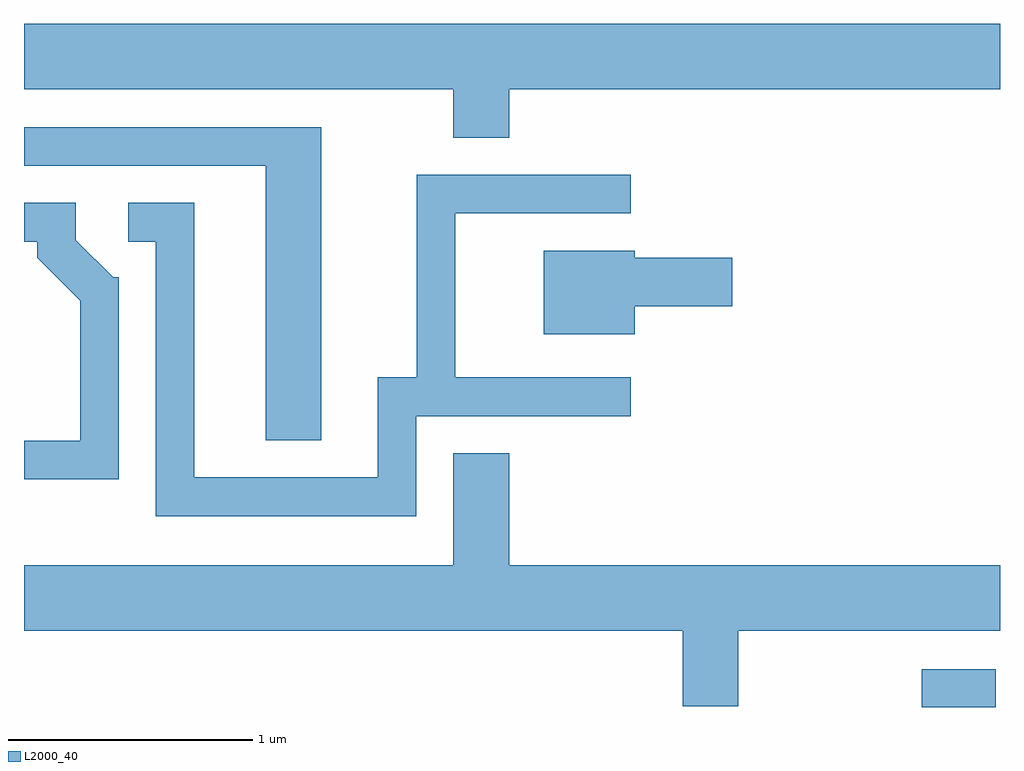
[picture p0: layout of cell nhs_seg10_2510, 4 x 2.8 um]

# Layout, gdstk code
import gdstk
lib = gdstk.Library(unit=1e-6, precision=1e-09)
def R(c, l, rs):  # rectangles x0, y0, x1, y1
    for r in rs: c.add(gdstk.rectangle(r[:2], r[2:], *l))
def P(c, l, *ps):  # polygons
    for p in ps: c.add(gdstk.Polygon(p, *l))
L2000_40 = (2000, 40)

nhs_seg10_2510 = lib.new_cell('nhs_seg10_2510')
R(nhs_seg10_2510, L2000_40, [(263.291,2082.522,263.594,2082.679)])
P(nhs_seg10_2510, L2000_40, [(261.599,2085.056),(263.611,2085.056),(263.611,2085.324),(259.611,2085.324),(259.611,2085.056),(261.371,2085.056),(261.371,2084.856),(261.599,2084.856)],
  [(260.829,2084.899),(259.611,2084.899),(259.611,2084.741),(260.601,2084.741),(260.601,2083.616),(260.829,2083.616)],
  [(261.219,2083.716),(262.098,2083.716),(262.098,2083.874),(261.379,2083.874),(261.379,2084.546),(262.098,2084.546),(262.098,2084.704),(261.221,2084.704),(261.221,2083.874),(261.061,2083.874),(261.061,2083.464),(260.309,2083.464),(260.309,2084.589),(260.038,2084.589),(260.038,2084.431),(260.151,2084.431),(260.151,2083.306),(261.219,2083.306)],
  [(259.999,2084.284),(259.977,2084.284),(259.824,2084.437),(259.824,2084.589),(259.611,2084.589),(259.611,2084.431),(259.666,2084.431),(259.666,2084.364),(259.841,2084.189),(259.841,2083.614),(259.611,2083.614),(259.611,2083.456),(259.999,2083.456)],
  [(262.114,2084.166),(262.514,2084.166),(262.514,2084.364),(262.114,2084.364),(262.114,2084.394),(261.741,2084.394),(261.741,2084.051),(262.114,2084.051)],
  [(262.539,2082.836),(263.611,2082.836),(263.611,2083.104),(261.599,2083.104),(261.599,2083.564),(261.371,2083.564),(261.371,2083.104),(259.611,2083.104),(259.611,2082.836),(262.311,2082.836),(262.311,2082.526),(262.539,2082.526)])

lib.write_gds('nhs_seg10_2510.gds')
